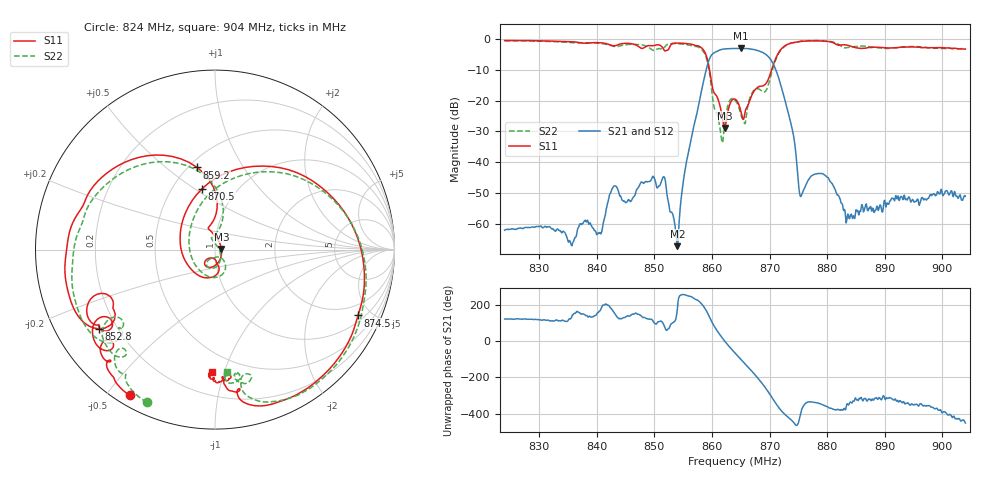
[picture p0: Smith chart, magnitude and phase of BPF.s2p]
# Hz S DB R 50
! Planar, Obzor-808, 19035835, 20.4.1/1
! Date: 08.06.2021 11:48:21
! Data: Format (Calibration Info)
! Freq	S11:dB/Ang(F2)	S41:dB/Ang(F2)	S14:dB/Ang(F2)	S44:dB/Ang(F2)
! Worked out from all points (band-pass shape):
!   801 points, 824 MHz to 904 MHz, reference 50 ohm
!   highest |S21| = -3.12 dB at 865 MHz (marker M1); lowest = -67.2 dB at 854 MHz (marker M2)
!   |S21| within 3 dB of the highest: 859.7 MHz to 870 MHz (10.3 MHz wide, 1.19 % of centre)
!   lowest |S11| = -28.9 dB at 862.2 MHz (marker M3), VSWR 1.07, Z = 53.7 + j0.395 ohm
!   |S11| at or under -10 dB: 859.6 MHz to 870.4 MHz (10.79 MHz wide, 1.25 % of centre)
!   |S22| runs from -33.7 to -0.6 dB; largest |S21 - S12| = 0.0039
!   S11 on the Smith chart (normalised r, x): 824 MHz: 0.04, -0.57; 852.8 MHz: 0.13, -0.30; 859.2 MHz: 0.55, +0.65; 870.5 MHz: 0.70, +0.53; 874.5 MHz: 1.31, -4.17; 904 MHz: 0.36, -0.91
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8.24e8  -0.53 -120.3  -62.02 120.0  -62.05 119.6  -0.62 -114.0
8.374e8  -1.35 -133.8  -60.08 148.8  -60.17 149.2  -1.35 -125.6
8.43e8  -2.28 -137.9  -47.70 156.2  -47.71 156.5  -2.47 -133.1
8.507e8  -1.94 -152.6  -47.88 105.2  -47.91 105.6  -3.21 -140.3
8.528e8  -2.11 -145.7  -56.15 88.2  -56.24 88.4  -1.57 -146.7
8.54e8  -1.38 -160.8  -67.18 175.5  -67.09 178.2  -1.59 -157.2
8.573e8  -2.23 160.5  -24.94 -133.6  -24.93 -133.2  -2.49 163.7
8.592e8  -6.58 102.3  -8.58 155.5  -8.56 155.8  -7.32 99.8
8.605e8  -17.82 106.4  -4.38 75.3  -4.38 75.6  -22.92 101.8
8.622e8  -28.91 5.9  -3.28 -0.7  -3.27 -0.4  -27.80 -40.9
8.64e8  -19.54 -118.6  -3.15 -66.4  -3.15 -66.1  -19.88 -116.1
8.65e8  -23.32 -129.6  -3.12 -100.0  -3.12 -99.7  -24.33 -118.8
8.675e8  -16.47 -92.6  -3.58 172.9  -3.58 173.2  -16.36 -81.6
8.691e8  -15.00 -160.9  -4.73 110.3  -4.73 110.6  -17.26 -162.4
8.705e8  -9.22 102.2  -7.62 45.3  -7.61 45.6  -9.96 94.3
8.725e8  -2.49 16.2  -18.68 -38.9  -18.66 -38.7  -2.62 17.9
8.745e8  -1.14 -24.7  -35.91 -100.8  -35.91 -100.6  -1.10 -20.2
8.755e8  -0.83 -37.1  -50.86 -24.3  -50.87 -24.1  -0.78 -32.0
8.774e8  -0.65 -54.7  -44.25 24.3  -44.27 24.6  -0.58 -49.2
8.836e8  -2.11 -84.6  -56.80 12.0  -56.83 12.3  -2.83 -74.4
8.907e8  -2.98 -86.5  -53.60 47.4  -53.59 47.7  -3.07 -79.4
9.04e8  -3.34 -91.2  -50.95 -90.7  -50.95 -90.3  -3.30 -84.5
